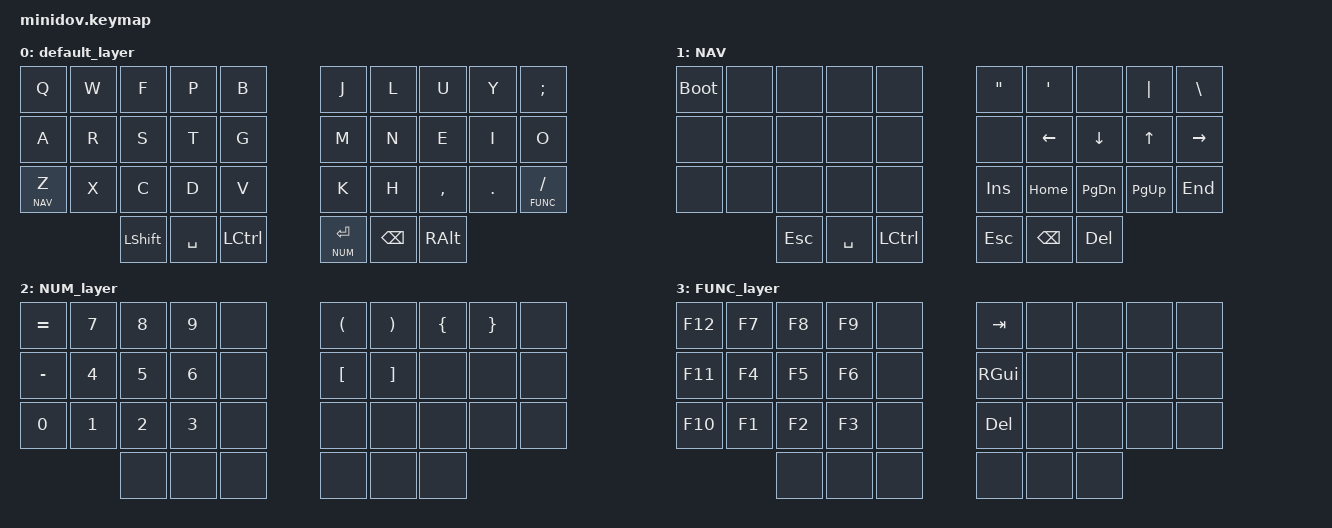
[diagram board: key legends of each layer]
#include <behaviors.dtsi>

#define BASE 0
#define NAV 1
#define NUM 2
#define FUNC 3

/{
        keymap {
                compatible = "zmk,keymap";

                default_layer {
                        bindings = <
&kp Q &kp W &kp F &kp P &kp B        &kp J &kp L &kp U &kp Y &kp SEMICOLON
&kp A &kp R &kp S &kp T &kp G        &kp M &kp N &kp E &kp I &kp O
&lt NAV Z &kp X &kp C &kp D &kp V    &kp K &kp H &kp COMMA &kp PERIOD &lt FUNC SLASH
&kp LSHIFT &kp SPACE  &kp LCTRL      &lt NUM RETURN  &kp BACKSPACE &kp RALT
                        >;
                };

                NAV {
                        bindings = <
&bootloader &none &none &none &none        &kp DOUBLE_QUOTES &kp SINGLE_QUOTE &none &kp PIPE &kp BACKSLASH
&none &none &none &none &none              &none &kp LEFT &kp DOWN &kp UP &kp RIGHT
&none &none &none &none &none              &kp INSERT &kp HOME &kp PAGE_DOWN &kp PAGE_UP &kp END
        &kp ESCAPE &kp SPACE  &kp LCTRL      &kp ESCAPE &kp BACKSPACE &kp DELETE
                        >;
                };

                NUM_layer {
                        bindings = <
&kp EQUAL &kp N7 &kp N8 &kp N9 &none                 &kp LPAR &kp RPAR &kp LBRC &kp RBRC &none 
&kp MINUS  &kp N4 &kp N5 &kp N6 &none                &kp LBKT &kp RBKT  &none &none &none
&kp N0 &kp N1 &kp N2 &kp N3 &none                    &none &none &none &none &none
&none &none &none &none &none &none
                        >;
                };

                FUNC_layer {
                        bindings = <
&kp F12 &kp F7 &kp F8 &kp F9 &none         &kp TAB &none &none &none &none 
&kp F11 &kp F4 &kp F5 &kp F6 &none         &kp RGUI &none &none &none &none 
&kp F10 &kp F1 &kp F2 &kp F3 &none         &kp DELETE &none &none &none &none 
&none &none &none &none &none &none
                        >;
                };
        }; 
};
